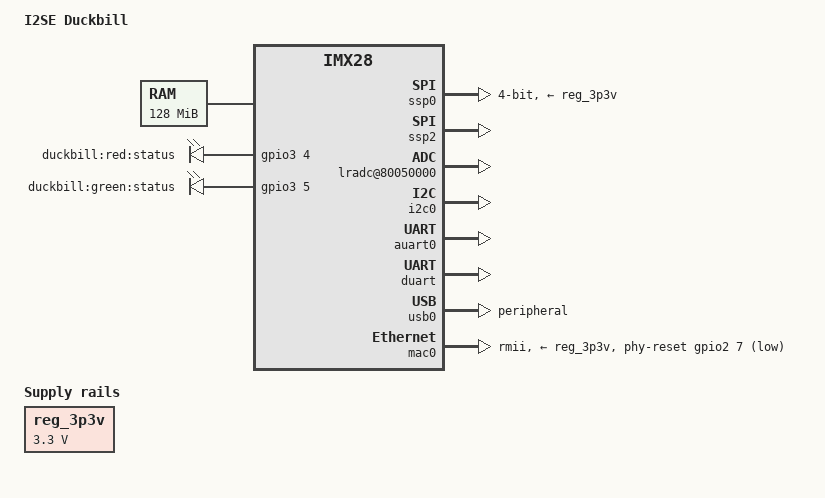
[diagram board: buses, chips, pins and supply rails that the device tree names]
/*
 * Copyright (C) 2013-2014,2016 Michael Heimpold <mhei@heimpold.de>
 * Copyright (C) 2015-2017 I2SE GmbH <info@i2se.com>
 *
 * The code contained herein is licensed under the GNU General Public
 * License. You may obtain a copy of the GNU General Public License
 * Version 2 or later at the following locations:
 *
 * http://www.opensource.org/licenses/gpl-license.html
 * http://www.gnu.org/copyleft/gpl.html
 */

/dts-v1/;
#include <dt-bindings/gpio/gpio.h>
#include "imx28.dtsi"

/ {
	model = "I2SE Duckbill";
	compatible = "i2se,duckbill", "fsl,imx28";

	memory@40000000 {
		device_type = "memory";
		reg = <0x40000000 0x08000000>;
	};

	apb@80000000 {
		apbh@80000000 {
			ssp0: spi@80010000 {
				compatible = "fsl,imx28-mmc";
				pinctrl-names = "default";
				pinctrl-0 = <&mmc0_4bit_pins_a
					&mmc0_cd_cfg &mmc0_sck_cfg>;
				bus-width = <4>;
				vmmc-supply = <&reg_3p3v>;
				status = "okay";
			};

			ssp2: spi@80014000 {
				compatible = "fsl,imx28-spi";
				pinctrl-names = "default";
				pinctrl-0 = <&spi2_pins_a>;
				status = "okay";
			};

			pinctrl@80018000 {
				pinctrl-names = "default";
				pinctrl-0 = <&hog_pins_a>;

				hog_pins_a: hog@0 {
					reg = <0>;
					fsl,pinmux-ids = <
						MX28_PAD_LCD_D17__GPIO_1_17    /* Revision detection */
					>;
					fsl,drive-strength = <MXS_DRIVE_4mA>;
					fsl,voltage = <MXS_VOLTAGE_HIGH>;
					fsl,pull-up = <MXS_PULL_DISABLE>;
				};

				mac0_phy_reset_pin: mac0-phy-reset@0 {
					reg = <0>;
					fsl,pinmux-ids = <
						MX28_PAD_SSP0_DATA7__GPIO_2_7    /* PHY Reset */
					>;
					fsl,drive-strength = <MXS_DRIVE_4mA>;
					fsl,voltage = <MXS_VOLTAGE_HIGH>;
					fsl,pull-up = <MXS_PULL_DISABLE>;
				};

				led_pins: leds@0 {
					reg = <0>;
					fsl,pinmux-ids = <
						MX28_PAD_AUART1_RX__GPIO_3_4
						MX28_PAD_AUART1_TX__GPIO_3_5
					>;
					fsl,drive-strength = <MXS_DRIVE_4mA>;
					fsl,voltage = <MXS_VOLTAGE_HIGH>;
					fsl,pull-up = <MXS_PULL_DISABLE>;
				};
			};
		};

		apbx@80040000 {
			lradc@80050000 {
				status = "okay";
			};

			i2c0: i2c@80058000 {
				pinctrl-names = "default";
				pinctrl-0 = <&i2c0_pins_a>;
				status = "okay";
			};

			auart0: serial@8006a000 {
				pinctrl-names = "default";
				pinctrl-0 = <&auart0_2pins_a>;
				status = "okay";
			};

			duart: serial@80074000 {
				pinctrl-names = "default";
				pinctrl-0 = <&duart_pins_a>;
				status = "okay";
			};

			usbphy0: usbphy@8007c000 {
				status = "okay";
			};
		};
	};

	ahb@80080000 {
		usb0: usb@80080000 {
			status = "okay";
			dr_mode = "peripheral";
		};

		mac0: ethernet@800f0000 {
			phy-mode = "rmii";
			pinctrl-names = "default";
			pinctrl-0 = <&mac0_pins_a>, <&mac0_phy_reset_pin>;
			phy-supply = <&reg_3p3v>;
			phy-reset-gpios = <&gpio2 7 GPIO_ACTIVE_LOW>;
			phy-reset-duration = <25>;
			status = "okay";
		};
	};

	reg_3p3v: regulator-3p3v {
		compatible = "regulator-fixed";
		regulator-name = "3P3V";
		regulator-min-microvolt = <3300000>;
		regulator-max-microvolt = <3300000>;
		regulator-always-on;
	};

	leds {
		compatible = "gpio-leds";
		pinctrl-names = "default";
		pinctrl-0 = <&led_pins>;

		status-red {
			label = "duckbill:red:status";
			gpios = <&gpio3 4 GPIO_ACTIVE_HIGH>;
			linux,default-trigger = "default-on";
		};

		status-green {
			label = "duckbill:green:status";
			gpios = <&gpio3 5 GPIO_ACTIVE_HIGH>;
			linux,default-trigger = "heartbeat";
		};
	};
};
